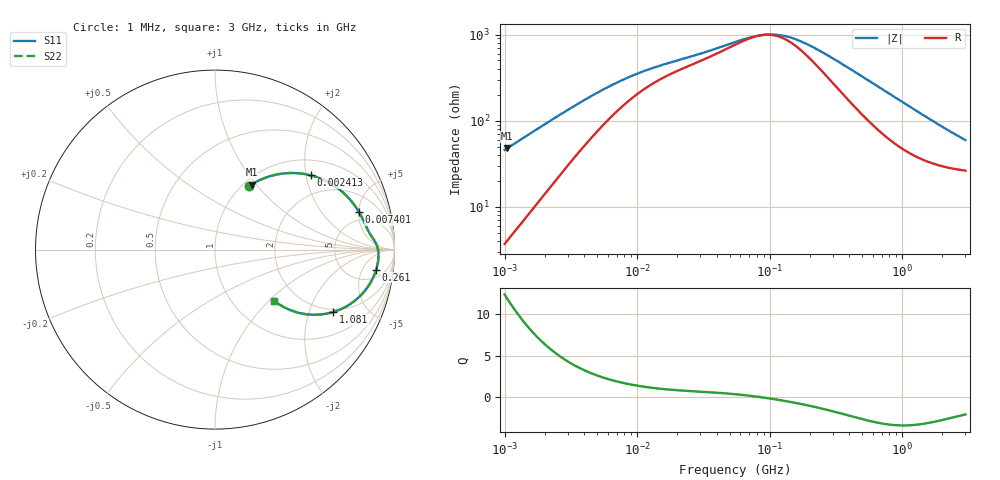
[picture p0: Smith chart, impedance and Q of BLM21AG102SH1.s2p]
! BLM21AG102SH1
# Hz S RI R 50
!Freq.(Hz) S11(Real) S11(Imag) S21(Real) S21(Imag) S12(Real) S12(Imag) S22(Real) S22(Imag)
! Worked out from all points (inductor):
!   401 points, 1 MHz to 3 GHz, reference 50 ohm
!   read as one part in series: L = 7.21 uH near 1.041 MHz
!   highest Q = 11.9 at 1.041 MHz (marker M1), where L = 7.24 uH
!   self-resonance near 88.87 MHz
!   S11 on the Smith chart (normalised r, x): 1 MHz: 1.07, +0.91; 2.413 MHz: 1.40, +2.13; 7.401 MHz: 3.76, +5.04; 261 MHz: 8, -10; 1.081 GHz: 1.88, -2.93; 3 GHz: 1.53, -1.07
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1000000  0.1913 0.3548  0.8087 -0.3548  0.8087 -0.3548  0.1913 0.3548
1040844  0.2034 0.3626  0.7966 -0.3626  0.7966 -0.3626  0.2034 0.3626
1616692  0.3663 0.4224  0.6337 -0.4224  0.6337 -0.4224  0.3663 0.4224
1974946  0.451 0.4263  0.549 -0.4263  0.549 -0.4263  0.451 0.4263
2412589  0.5338 0.4137  0.4662 -0.4137  0.4662 -0.4137  0.5338 0.4137
3823119  0.6882 0.3388  0.3118 -0.3388  0.3118 -0.3388  0.6882 0.3388
5266264  0.757 0.2732  0.243 -0.2732  0.243 -0.2732  0.757 0.2732
7400828  0.8017 0.2099  0.1983 -0.2099  0.1983 -0.2099  0.8017 0.2099
1.461624e7  0.8448 0.1228  0.1552 -0.1228  0.1552 -0.1228  0.8448 0.1228
5.477226e7  0.8962 0.0359  0.1038 -0.0359  0.1038 -0.0359  0.8962 0.0359
8.011685e7  0.9063 0.00824  0.0937 -0.00824  0.0937 -0.00824  0.9063 0.00824
1.081723e8  0.9104 -0.0165  0.0896 0.0165  0.0896 0.0165  0.9104 -0.0165
1.460522e8  0.9108 -0.0443  0.0892 0.0443  0.0892 0.0443  0.9108 -0.0443
2.094008e8  0.9056 -0.0834  0.0944 0.0834  0.0944 0.0834  0.9056 -0.0834
2.609752e8  0.8984 -0.1117  0.1016 0.1117  0.1016 0.1117  0.8984 -0.1117
4.853736e8  0.848 -0.2126  0.152 0.2126  0.152 0.2126  0.848 -0.2126
8.005644e8  0.7501 -0.3055  0.2499 0.3055  0.2499 0.3055  0.7501 -0.3055
1.080907e9  0.6591 -0.3475  0.3409 0.3475  0.3409 0.3475  0.6591 -0.3475
1.374365e9  0.5739 -0.3625  0.4261 0.3625  0.4261 0.3625  0.5739 -0.3625
1.712864e9  0.494 -0.358  0.506 0.358  0.506 0.358  0.494 -0.358
2.359433e9  0.3896 -0.3236  0.6104 0.3236  0.6104 0.3236  0.3896 -0.3236
3e9  0.328 -0.284  0.672 0.284  0.672 0.284  0.328 -0.284
